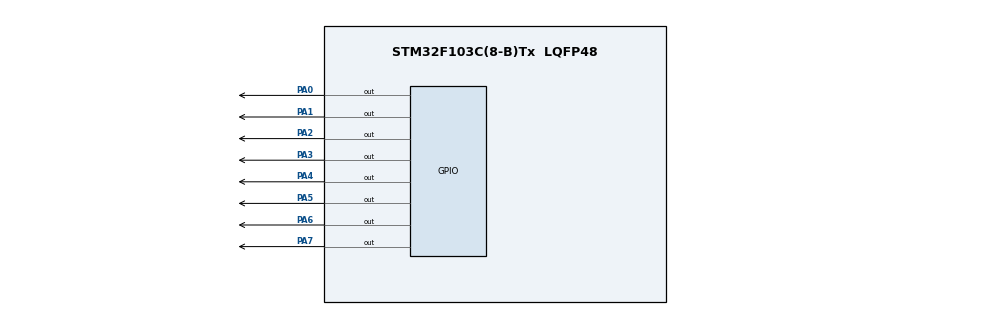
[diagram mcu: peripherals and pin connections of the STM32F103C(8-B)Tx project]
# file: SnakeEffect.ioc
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Mcu.Family=STM32F1
Mcu.Name=STM32F103C(8-B)Tx
Mcu.Package=LQFP48
NVIC.PriorityGroup=NVIC_PRIORITYGROUP_4
PA0-WKUP.Signal=GPIO_Output
PA1.Signal=GPIO_Output
PA2.Signal=GPIO_Output
PA3.Signal=GPIO_Output
PA4.Signal=GPIO_Output
PA5.Signal=GPIO_Output
PA6.Signal=GPIO_Output
PA7.Signal=GPIO_Output
ProjectManager.HeapSize=0x200
ProjectManager.StackSize=0x400
ProjectManager.TargetToolchain=STM32CubeIDE
RCC.APB1Freq_Value=8000000
RCC.APB2Freq_Value=8000000
board=custom

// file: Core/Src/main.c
/* USER CODE BEGIN Header */
/**
  ******************************************************************************
  * @file           : main.c
  * @brief          : Main program body
  ******************************************************************************
  * @attention
  *
  * Copyright (c) 2026 STMicroelectronics.
  * All rights reserved.
  *
  * This software is licensed under terms that can be found in the LICENSE file
  * in the root directory of this software component.
  * If no LICENSE file comes with this software, it is provided AS-IS.
  *
  ******************************************************************************
  */
/* USER CODE END Header */
#include "main.h"

/* USER CODE BEGIN PTD */
typedef struct{
	GPIO_TypeDef * port;
	 uint16_t num;
}pin;
/* USER CODE END PTD */

void SystemClock_Config(void);
static void MX_GPIO_Init(void);
/* USER CODE BEGIN PFP */
void writeReg(pin* pins, uint8_t size, uint8_t value);
/* USER CODE END PFP */

int main(void)
{

  /* MCU Configuration--------------------------------------------------------*/

  /* Reset of all peripherals, Initializes the Flash interface and the Systick. */
  HAL_Init();

  /* USER CODE BEGIN Init */
  pin snakeEffect[8];
  for(int i =0;i<8;i++)
  {
	  snakeEffect[i].port = GPIOA;
	  snakeEffect[i].num = pow(2,i);
  }
  uint8_t value =1;
  uint8_t n = 0;
  uint8_t increment = 1;
  /* USER CODE END Init */

  /* Configure the system clock */
  SystemClock_Config();

  /* Initialize all configured peripherals */
  MX_GPIO_Init();

  /* Infinite loop */
  /* USER CODE BEGIN WHILE */
  while (1)
  {
	  if(increment)
	  {
		  value = value << 1 | 1;
	  }
	  else
	  {
		  value = value << 1;

	  }
	  writeReg(snakeEffect, 8, value);
	  HAL_Delay(200);
	  n++;
	  if(n == 9)
	  {
		  increment = !increment;
		  n = 0;
	  }
    /* USER CODE END WHILE */

  }
}

void SystemClock_Config(void)
{
  RCC_OscInitTypeDef RCC_OscInitStruct = {0};
  RCC_ClkInitTypeDef RCC_ClkInitStruct = {0};

  /** Initializes the RCC Oscillators according to the specified parameters
  * in the RCC_OscInitTypeDef structure.
  */
  RCC_OscInitStruct.OscillatorType = RCC_OSCILLATORTYPE_HSI;
  RCC_OscInitStruct.HSIState = RCC_HSI_ON;
  RCC_OscInitStruct.HSICalibrationValue = RCC_HSICALIBRATION_DEFAULT;
  RCC_OscInitStruct.PLL.PLLState = RCC_PLL_NONE;
  if (HAL_RCC_OscConfig(&RCC_OscInitStruct) != HAL_OK)
  {
    Error_Handler();
  }

  /** Initializes the CPU, AHB and APB buses clocks
  */
  RCC_ClkInitStruct.ClockType = RCC_CLOCKTYPE_HCLK|RCC_CLOCKTYPE_SYSCLK
                              |RCC_CLOCKTYPE_PCLK1|RCC_CLOCKTYPE_PCLK2;
  RCC_ClkInitStruct.SYSCLKSource = RCC_SYSCLKSOURCE_HSI;
  RCC_ClkInitStruct.AHBCLKDivider = RCC_SYSCLK_DIV1;
  RCC_ClkInitStruct.APB1CLKDivider = RCC_HCLK_DIV1;
  RCC_ClkInitStruct.APB2CLKDivider = RCC_HCLK_DIV1;

  if (HAL_RCC_ClockConfig(&RCC_ClkInitStruct, FLASH_LATENCY_0) != HAL_OK)
  {
    Error_Handler();
  }
}

static void MX_GPIO_Init(void)
{
  GPIO_InitTypeDef GPIO_InitStruct = {0};

  /* GPIO Ports Clock Enable */
  __HAL_RCC_GPIOA_CLK_ENABLE();

  /*Configure GPIO pin Output Level */
  HAL_GPIO_WritePin(GPIOA, GPIO_PIN_0|GPIO_PIN_1|GPIO_PIN_2|GPIO_PIN_3
                          |GPIO_PIN_4|GPIO_PIN_5|GPIO_PIN_6|GPIO_PIN_7, GPIO_PIN_RESET);

  /*Configure GPIO pins : PA0 PA1 PA2 PA3
                           PA4 PA5 PA6 PA7 */
  GPIO_InitStruct.Pin = GPIO_PIN_0|GPIO_PIN_1|GPIO_PIN_2|GPIO_PIN_3
                          |GPIO_PIN_4|GPIO_PIN_5|GPIO_PIN_6|GPIO_PIN_7;
  GPIO_InitStruct.Mode = GPIO_MODE_OUTPUT_PP;
  GPIO_InitStruct.Pull = GPIO_NOPULL;
  GPIO_InitStruct.Speed = GPIO_SPEED_FREQ_LOW;
  HAL_GPIO_Init(GPIOA, &GPIO_InitStruct);

}

/* USER CODE BEGIN 4 */
void writeReg(pin* pins,uint8_t size, uint8_t value)
{
	for(int i = 0;i<size;i++)
	{
		uint8_t bitState = (value >> i) & 0x01;
		HAL_GPIO_WritePin( pins[i].port, pins[i].num, bitState);
	}
}
/* USER CODE END 4 */

void Error_Handler(void)
{
  __disable_irq();
  while (1)
  {
  }
}
